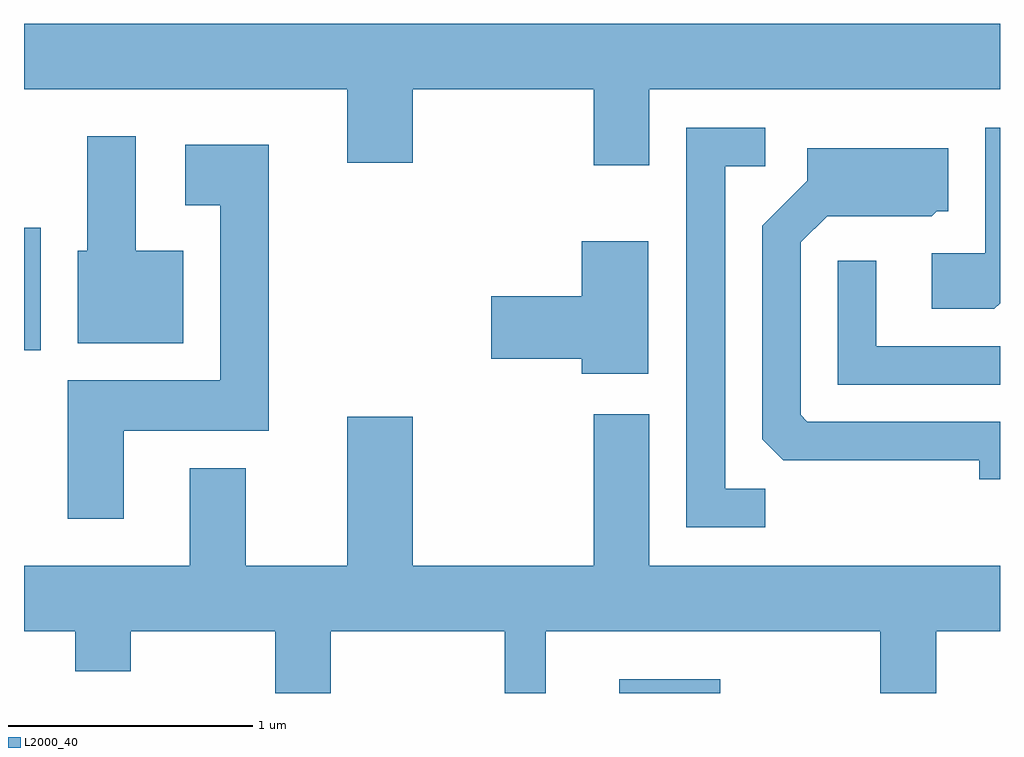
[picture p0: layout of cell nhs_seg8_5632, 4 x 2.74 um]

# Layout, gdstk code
import gdstk
lib = gdstk.Library(unit=1e-6, precision=1e-09)
def R(c, l, rs):  # rectangles x0, y0, x1, y1
    for r in rs: c.add(gdstk.rectangle(r[:2], r[2:], *l))
def P(c, l, *ps):  # polygons
    for p in ps: c.add(gdstk.Polygon(p, *l))
L2000_40 = (2000, 40)

nhs_seg8_5632 = lib.new_cell('nhs_seg8_5632')
R(nhs_seg8_5632, L2000_40, [(356.051,1878.342,356.464,1878.399), (353.611,1879.746,353.679,1880.249)])
P(nhs_seg8_5632, L2000_40, [(356.174,1880.816),(357.611,1880.816),(357.611,1881.084),(353.611,1881.084),(353.611,1880.816),(354.936,1880.816),(354.936,1880.516),(355.204,1880.516),(355.204,1880.816),(355.946,1880.816),(355.946,1880.506),(356.174,1880.506)],
  [(356.648,1879.179),(356.484,1879.179),(356.484,1880.501),(356.648,1880.501),(356.648,1880.659),(356.326,1880.659),(356.326,1879.021),(356.648,1879.021)],
  [(357.611,1879.94),(357.611,1880.659),(357.551,1880.659),(357.551,1880.144),(357.331,1880.144),(357.331,1879.916),(357.587,1879.916)],
  [(354.264,1880.154),(354.069,1880.154),(354.069,1880.624),(353.871,1880.624),(353.871,1880.154),(353.831,1880.154),(353.831,1879.776),(354.264,1879.776)],
  [(354.019,1879.416),(354.614,1879.416),(354.614,1880.589),(354.271,1880.589),(354.271,1880.341),(354.416,1880.341),(354.416,1879.624),(353.791,1879.624),(353.791,1879.056),(354.019,1879.056)],
  [(357.611,1879.454),(356.822,1879.454),(356.794,1879.482),(356.794,1880.189),(356.902,1880.296),(357.332,1880.296),(357.352,1880.316),(357.399,1880.316),(357.399,1880.574),(356.821,1880.574),(356.821,1880.442),(356.636,1880.257),(356.636,1879.382),(356.722,1879.296),(357.526,1879.296),(357.526,1879.218),(357.611,1879.218)],
  [(356.169,1880.194),(355.896,1880.194),(355.896,1879.969),(355.526,1879.969),(355.526,1879.711),(355.896,1879.711),(355.896,1879.651),(356.169,1879.651)],
  [(357.611,1879.764),(357.104,1879.764),(357.104,1880.113),(356.946,1880.113),(356.946,1879.606),(357.611,1879.606)],
  [(354.869,1878.596),(355.581,1878.596),(355.581,1878.342),(355.749,1878.342),(355.749,1878.596),(357.121,1878.596),(357.121,1878.342),(357.349,1878.342),(357.349,1878.596),(357.611,1878.596),(357.611,1878.864),(356.174,1878.864),(356.174,1879.484),(355.946,1879.484),(355.946,1878.864),(355.204,1878.864),(355.204,1879.474),(354.936,1879.474),(354.936,1878.864),(354.519,1878.864),(354.519,1879.264),(354.291,1879.264),(354.291,1878.864),(353.611,1878.864),(353.611,1878.596),(353.821,1878.596),(353.821,1878.431),(354.049,1878.431),(354.049,1878.596),(354.641,1878.596),(354.641,1878.342),(354.869,1878.342)])

lib.write_gds('nhs_seg8_5632.gds')
